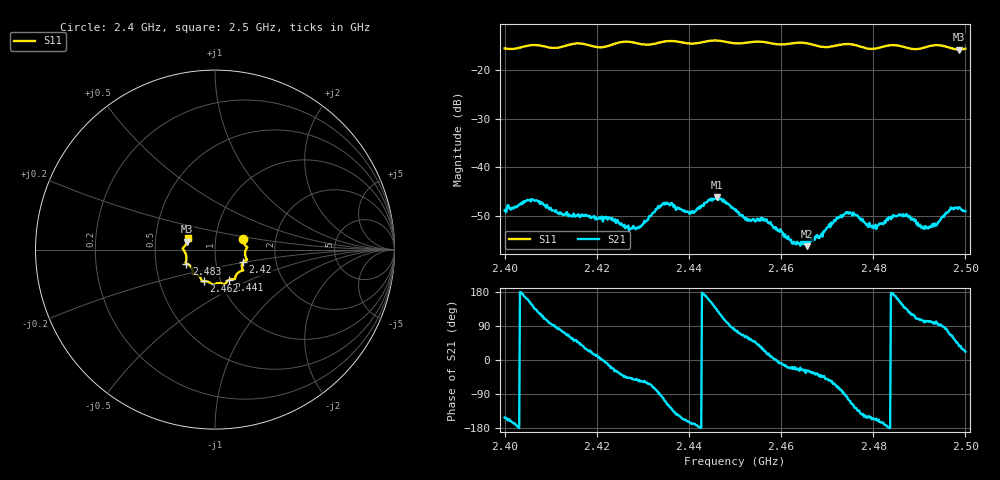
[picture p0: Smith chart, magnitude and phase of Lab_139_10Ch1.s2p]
# Hz S RI R 50
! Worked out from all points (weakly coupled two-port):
!   601 points, 2.4 GHz to 2.5 GHz, reference 50 ohm
!   highest |S21| = -46.20 dB at 2.446 GHz (marker M1); lowest = -56.2 dB at 2.4657 GHz (marker M2)
!   lowest |S11| = -15.8 dB at 2.4987 GHz (marker M3), VSWR 1.39, Z = 36.4 + j3.31 ohm
!   |S11| at or under -10 dB: start of sweep to end of sweep
!   S12 and S22 are empty: the file has one direction only
!   S11 on the Smith chart (normalised r, x): 2.4 GHz: 1.36, +0.17; 2.42 GHz: 1.36, -0.20; 2.441 GHz: 1.09, -0.39; 2.462 GHz: 0.83, -0.30; 2.483 GHz: 0.72, -0.12; 2.5 GHz: 0.73, +0.09
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2.4e9  0.1558 0.0602  -0.00316 -0.00169  0 0  0 0
2.406333e9  0.1802 0.0131  -0.00342 0.00304  0 0  0 0
2.416667e9  0.1774 -0.0582  0.00243 0.00201  0 0  0 0
2.42e9  0.1568 -0.0703  0.00284 0.00069  0 0  0 0
2.428667e9  0.1467 -0.1189  0.00144 -0.00187  0 0  0 0
2.433333e9  0.1128 -0.1529  0.000391 -0.00396  0 0  0 0
2.441e9  0.0765 -0.1704  -0.00331 -0.000703  0 0  0 0
2.446e9  0.052 -0.194  -0.00346 0.00347  0 0  0 0
2.45e9  0.0264 -0.1863  0.000746 0.00354  0 0  0 0
2.452833e9  0.000398 -0.1916  0.00156 0.00239  0 0  0 0
2.4565e9  -0.016 -0.1926  0.00259 0.00116  0 0  0 0
2.462e9  -0.0619 -0.1761  0.00165 -0.000676  0 0  0 0
2.465667e9  -0.0748 -0.1725  0.00137 -0.00071  0 0  0 0
2.466667e9  -0.0763 -0.1669  0.00153 -0.000977  0 0  0 0
2.4745e9  -0.1253 -0.1359  -0.000769 -0.00332  0 0  0 0
2.479833e9  -0.1351 -0.0944  -0.00226 -0.00111  0 0  0 0
2.483e9  -0.1594 -0.0781  -0.00296 -0.000227  0 0  0 0
2.483333e9  -0.161 -0.0774  -0.00301 -0.00016  0 0  0 0
2.487e9  -0.1602 -0.0593  -0.00229 0.00222  0 0  0 0
2.4915e9  -0.172 -0.0063  -0.000453 0.00233  0 0  0 0
2.498667e9  -0.1558 0.0443  0.00315 0.00228  0 0  0 0
2.5e9  -0.153 0.0632  0.00328 0.00131  0 0  0 0
